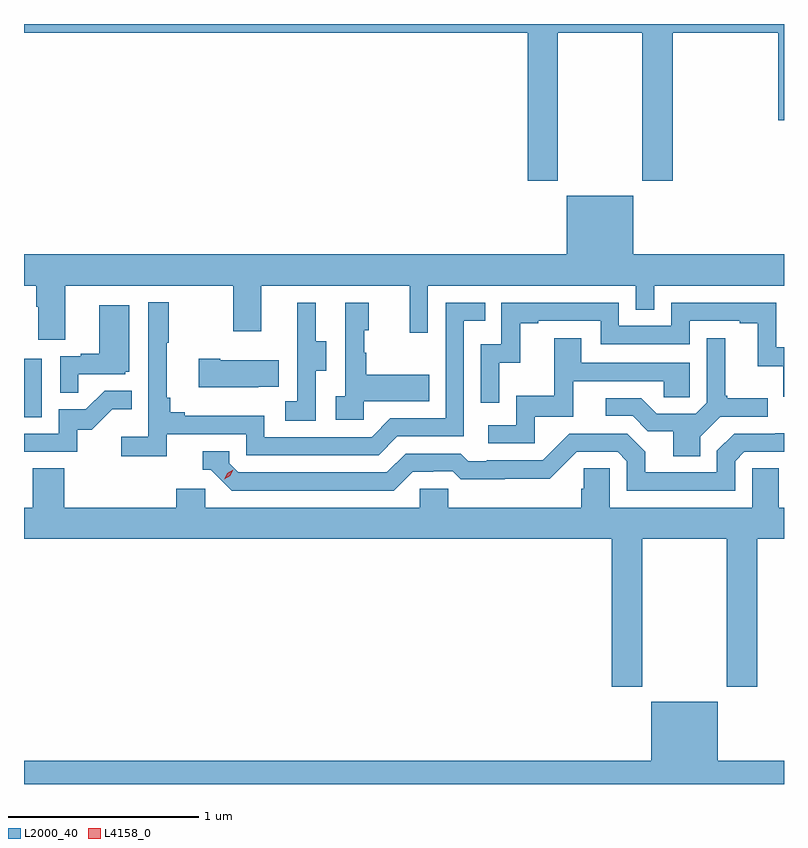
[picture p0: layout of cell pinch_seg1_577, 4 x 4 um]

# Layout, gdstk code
import gdstk
lib = gdstk.Library(unit=1e-6, precision=1e-09)
def R(c, l, rs):  # rectangles x0, y0, x1, y1
    for r in rs: c.add(gdstk.rectangle(r[:2], r[2:], *l))
def P(c, l, *ps):  # polygons
    for p in ps: c.add(gdstk.Polygon(p, *l))
L2000_40 = (2000, 40)
L4158_0 = (4158, 0)

pinch_seg1_577 = lib.new_cell('pinch_seg1_577')
R(pinch_seg1_577, L2000_40, [(1035.187,509.748,1035.28,510.055)])
P(pinch_seg1_577, L2000_40, [(1035.187,511.772),(1037.837,511.772),(1037.837,510.993),(1037.997,510.993),(1037.997,511.772),(1038.442,511.772),(1038.442,510.993),(1038.602,510.993),(1038.602,511.772),(1039.157,511.772),(1039.157,511.311),(1039.187,511.311),(1039.187,511.817),(1035.187,511.817)],
  [(1035.403,510.44),(1036.288,510.44),(1036.288,510.201),(1036.435,510.201),(1036.435,510.44),(1037.216,510.44),(1037.216,510.192),(1037.313,510.192),(1037.313,510.44),(1038.408,510.44),(1038.408,510.313),(1038.504,510.313),(1038.504,510.44),(1039.187,510.44),(1039.187,510.604),(1038.394,510.604),(1038.394,510.913),(1038.044,510.913),(1038.044,510.604),(1035.187,510.604),(1035.187,510.44),(1035.251,510.44),(1035.251,510.328),(1035.263,510.328),(1035.263,510.154),(1035.403,510.154)],
  [(1035.938,509.658),(1036.356,509.658),(1036.356,509.547),(1037.053,509.547),(1037.152,509.646),(1037.502,509.646),(1037.502,510.255),(1037.615,510.255),(1037.615,510.351),(1037.406,510.351),(1037.406,509.742),(1037.115,509.742),(1037.016,509.643),(1036.452,509.643),(1036.452,509.755),(1036.033,509.755),(1036.033,509.774),(1035.956,509.774),(1035.956,509.851),(1035.937,509.851),(1035.937,510.139),(1035.949,510.139),(1035.949,510.352),(1035.84,510.352),(1035.84,509.644),(1035.699,509.644),(1035.699,509.542),(1035.938,509.542)],
  [(1037.688,510.035),(1037.798,510.035),(1037.798,510.243),(1037.893,510.243),(1037.893,510.255),(1038.222,510.255),(1038.222,510.132),(1038.69,510.132),(1038.69,510.255),(1038.953,510.255),(1038.953,510.243),(1039.049,510.243),(1039.049,510.017),(1039.182,510.017),(1039.182,509.856),(1039.187,509.856),(1039.187,510.115),(1039.146,510.115),(1039.146,510.351),(1038.594,510.351),(1038.594,510.228),(1038.318,510.228),(1038.318,510.351),(1037.7,510.351),(1037.7,510.132),(1037.592,510.132),(1037.592,509.823),(1037.688,509.823)],
  [(1036.722,509.992),(1036.777,509.992),(1036.777,510.147),(1036.723,510.147),(1036.723,510.349),(1036.625,510.349),(1036.625,510.135),(1036.626,510.135),(1036.626,509.831),(1036.563,509.831),(1036.563,509.728),(1036.722,509.728)],
  [(1036.974,509.831),(1037.321,509.831),(1037.321,509.971),(1036.987,509.971),(1036.987,510.086),(1036.977,510.086),(1036.977,510.204),(1037.002,510.204),(1037.002,510.349),(1036.878,510.349),(1036.878,509.858),(1036.827,509.858),(1036.827,509.733),(1036.974,509.733)],
  [(1035.473,509.973),(1035.72,509.973),(1035.72,509.988),(1035.742,509.988),(1035.742,510.337),(1035.584,510.337),(1035.584,510.082),(1035.485,510.082),(1035.485,510.069),(1035.378,510.069),(1035.378,509.875),(1035.473,509.875)],
  [(1038.745,509.644),(1038.852,509.751),(1039.102,509.751),(1039.102,509.848),(1038.889,509.848),(1038.889,509.86),(1038.877,509.86),(1038.877,510.163),(1038.78,510.163),(1038.78,509.823),(1038.723,509.766),(1038.517,509.766),(1038.436,509.847),(1038.249,509.847),(1038.249,509.754),(1038.39,509.754),(1038.47,509.674),(1038.605,509.674),(1038.605,509.542),(1038.745,509.542)],
  [(1037.874,509.751),(1038.079,509.751),(1038.079,509.937),(1038.553,509.937),(1038.553,509.853),(1038.69,509.853),(1038.69,510.033),(1038.121,510.033),(1038.121,510.163),(1037.977,510.163),(1037.977,509.86),(1037.778,509.86),(1037.778,509.706),(1037.631,509.706),(1037.631,509.61),(1037.874,509.61)],
  [(1036.421,509.909),(1036.529,509.909),(1036.529,510.046),(1036.219,510.046),(1036.219,510.054),(1036.107,510.054),(1036.107,509.906),(1036.421,509.906)],
  [(1035.468,509.682),(1035.544,509.682),(1035.651,509.789),(1035.755,509.789),(1035.755,509.888),(1035.611,509.888),(1035.513,509.79),(1035.369,509.79),(1035.369,509.661),(1035.187,509.661),(1035.187,509.565),(1035.468,509.565)],
  [(1037.233,509.46),(1037.34,509.46),(1037.34,509.463),(1037.443,509.463),(1037.485,509.421),(1037.718,509.421),(1037.718,509.423),(1037.954,509.423),(1038.096,509.565),(1038.312,509.565),(1038.36,509.517),(1038.36,509.361),(1038.93,509.361),(1038.93,509.517),(1038.978,509.565),(1039.187,509.565),(1039.187,509.663),(1039.14,509.663),(1039.14,509.661),(1038.924,509.661),(1038.834,509.571),(1038.834,509.457),(1038.457,509.457),(1038.457,509.567),(1038.363,509.661),(1038.057,509.661),(1037.916,509.52),(1037.623,509.52),(1037.623,509.517),(1037.524,509.517),(1037.485,509.556),(1037.196,509.556),(1037.097,509.457),(1036.314,509.457),(1036.266,509.505),(1036.266,509.568),(1036.127,509.568),(1036.127,509.472),(1036.17,509.472),(1036.281,509.361),(1037.134,509.361)],
  [(1038.281,508.329),(1038.441,508.329),(1038.441,509.108),(1038.886,509.108),(1038.886,508.329),(1039.046,508.329),(1039.046,509.108),(1039.187,509.108),(1039.187,509.272),(1039.159,509.272),(1039.159,509.48),(1039.02,509.48),(1039.02,509.272),(1038.27,509.272),(1038.27,509.48),(1038.133,509.48),(1038.133,509.37),(1038.119,509.37),(1038.119,509.272),(1037.421,509.272),(1037.421,509.37),(1037.271,509.37),(1037.271,509.272),(1036.14,509.272),(1036.14,509.37),(1035.989,509.37),(1035.989,509.272),(1035.398,509.272),(1035.398,509.48),(1035.233,509.48),(1035.233,509.272),(1035.187,509.272),(1035.187,509.108),(1038.281,509.108)],
  [(1039.187,507.94),(1038.838,507.94),(1038.838,508.249),(1038.488,508.249),(1038.488,507.94),(1035.187,507.94),(1035.187,507.817),(1039.187,507.817)])
P(pinch_seg1_577, L4158_0, [(1036.242,509.42),(1036.242,509.42),(1036.258,509.453),(1036.288,509.472),(1036.288,509.472),(1036.288,509.472),(1036.273,509.439),(1036.242,509.42)])

lib.write_gds('pinch_seg1_577.gds')
